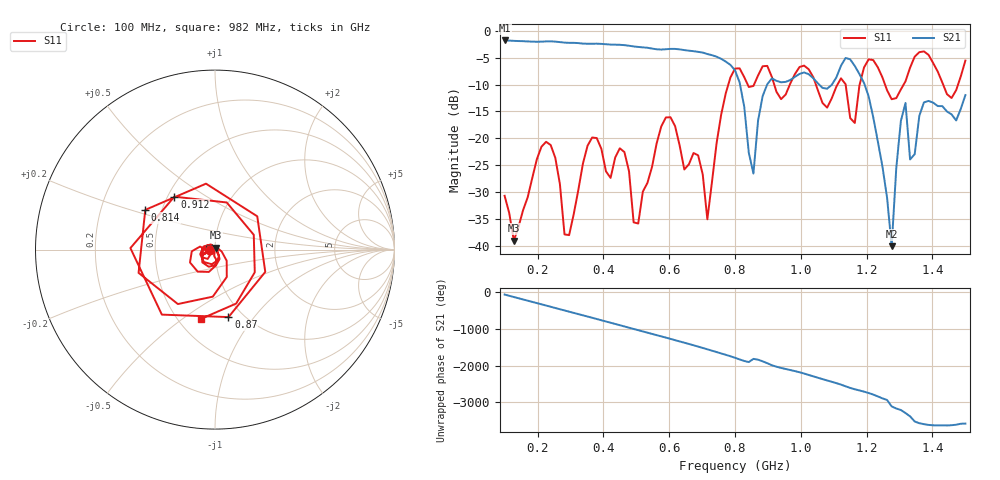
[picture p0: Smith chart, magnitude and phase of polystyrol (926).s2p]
! NanoVNA-App
! Date: 2025-09-25 15:37:05
! Start: 100MHz Stop: 1,5GHz Points: 101
! S-Parameter data: F S11 S21 S12 S22
# Hz S RI R 50
!  Frequency  S11_Real  S11_Imag  S21_Real  S21_Imag  S12_Real  S12_Imag  S22_Real  S22_Imag
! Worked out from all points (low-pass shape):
!   101 points, 100 MHz to 1.5 GHz, reference 50 ohm
!   highest |S21| = -1.80 dB at 100 MHz (marker M1); lowest = -40.1 dB at 1.276 GHz (marker M2)
!   |S21| within 3 dB of the highest: start of sweep to 742.9 MHz
!   lowest |S11| = -39.0 dB at 128 MHz (marker M3), VSWR 1.02, Z = 50.3 + j1.07 ohm
!   |S11| at or under -10 dB: start of sweep to 779.8 MHz; 1.046 GHz to 1.112 GHz (65.84 MHz wide, 6.1 % of centre); 1.256 GHz to 1.312 GHz (56.74 MHz wide, 4.42 % of centre) (the widest 3 of 7)
!   S12 and S22 are empty: the file has one direction only
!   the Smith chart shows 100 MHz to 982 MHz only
!   S11 on the Smith chart (normalised r, x): 100 MHz: 0.94, -0.01; 814 MHz: 0.40, +0.22; 870 MHz: 0.86, -0.75; 912 MHz: 0.54, +0.37; 982 MHz: 0.64, -0.59
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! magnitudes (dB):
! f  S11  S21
! 100 MHz  -30.7  -1.8
! 128 MHz  -39.0  -1.9
! 212 MHz  -21.6  -2.0
! 282 MHz  -37.9  -2.2
! 338 MHz  -24.7  -2.4
! 464 MHz  -22.6  -2.7
! 506 MHz  -35.9  -3.0
! 576 MHz  -17.8  -3.5
! 716 MHz  -35.1  -4.3
! 800 MHz  -7.0  -7.4
! 814 MHz  -7.0  -9.6
! 856 MHz  -10.3  -26.6
! 870 MHz  -8.3  -16.8
! 912 MHz  -8.6  -8.9
! 982 MHz  -8.1  -8.6
! 1.038 GHz  -8.6  -8.8
! 1.164 GHz  -17.2  -6.6
! 1.192 GHz  -6.8  -9.7
! 1.276 GHz  -12.7  -40.1
! 1.318 GHz  -9.4  -13.4
! 1.332 GHz  -6.9  -24.0
! 1.5 GHz  -5.5  -12.0
